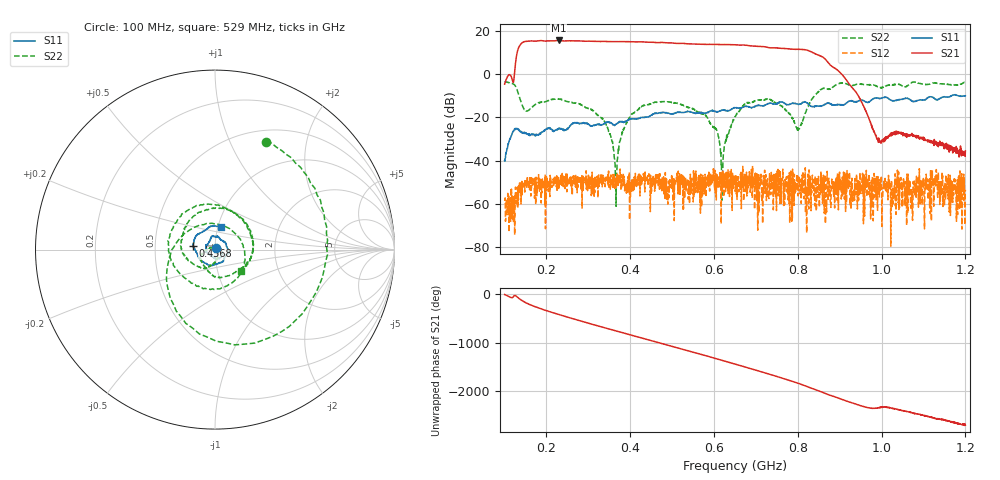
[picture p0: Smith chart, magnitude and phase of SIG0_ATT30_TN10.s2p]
# Hz S DB R 50
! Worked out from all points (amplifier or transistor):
!   1601 points, 100 MHz to 1.2 GHz, reference 50 ohm
!   highest |S21| = 15.7 dB at 229.2 MHz (marker M1)
!   |S21| within 3 dB of that: 134.3 MHz to 722.8 MHz (588.5 MHz wide, 137 % of centre)
!   unconditionally stable (mu >= 1): start of sweep to end of sweep
!   at 282.9 MHz: K = 21.68, MAG = 15.6 dB, |S12| = -48.5 dB
!   at 650 MHz: K = 22.68, MAG = 13.8 dB, |S12| = -47.1 dB
!   at 1.2 GHz: K = 6958.74, MAG = -32.4 dB, |S12| = -53.6 dB
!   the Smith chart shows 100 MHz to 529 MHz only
!   S11 on the Smith chart (normalised r, x): 100 MHz: 1.01, +0.01; 456.8 MHz: 0.78, +0.03; 529 MHz: 1.04, +0.27
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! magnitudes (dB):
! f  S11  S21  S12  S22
! 100 MHz  -40.0  -4.5  -58.6  -3.5
! 122.7 MHz  -26.0  -1.6  -60.9  -4.7
! 142.6 MHz  -27.1  14.7  -50.9  -14.6
! 229.2 MHz  -25.2  15.7  -53.5  -11.5
! 283.6 MHz  -22.9  15.4  -53.5  -14.2
! 339.9 MHz  -22.4  15.2  -52.1  -22.3
! 365.4 MHz  -23.2  15.1  -48.5  -49.3
! 378.4 MHz  -22.1  15.1  -46.5  -28.5
! 396.3 MHz  -21.1  15.1  -47.6  -20.6
! 456.8 MHz  -18.2  14.8  -51.3  -13.1
! 467.1 MHz  -18.0  14.7  -52.3  -12.9
! 529 MHz  -17.7  14.2  -50.9  -14.6
! 603.2 MHz  -17.1  13.8  -50.3  -24.8
! 619.8 MHz  -16.6  13.7  -54.3  -46.6
! 650 MHz  -15.5  13.6  -47.1  -19.8
! 730.4 MHz  -13.5  12.3  -57.2  -11.6
! 801.2 MHz  -14.0  11.5  -52.2  -24.9
! 833.6 MHz  -15.0  10.3  -52.6  -11.5
! 938.1 MHz  -12.9  -8.1  -55.7  -4.8
! 993.8 MHz  -11.2  -31.1  -48.8  -6.1
! 1.017 GHz  -11.4  -28.4  -52.7  -5.0
! 1.2 GHz  -10.0  -35.5  -53.6  -3.4
